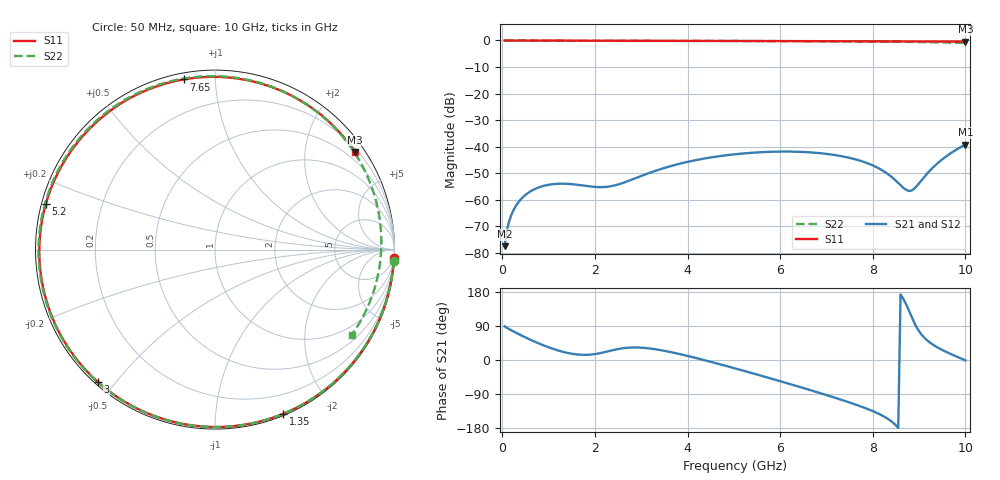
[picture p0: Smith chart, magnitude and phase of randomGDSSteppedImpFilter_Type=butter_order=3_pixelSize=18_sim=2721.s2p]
! freq	dB(S11)	phase(S11)	dB(S12)	phase(S12)
!  dB(S21)	phase(S21)	dB(S22)	phase(S22)
!S-par simulation data
#  GHz  S  DB  R 50
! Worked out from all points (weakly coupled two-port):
!   200 points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, 50 MHz to 10 GHz, reference 50 ohm
!   highest |S21| = -39.19 dB at 10 GHz (marker M1); lowest = -77.5 dB at 50 MHz (marker M2)
!   lowest |S11| = -0.4 dB at 10 GHz (marker M3), VSWR 39.63, Z = 14 + j158 ohm
!   |S11| at or under -10 dB: nowhere
!   |S22| runs from -0.9 to 0.0 dB; largest |S21 - S12| = 0
!   S11 on the Smith chart (normalised r, x): 50 MHz: 1, -42; 1.35 GHz: 0.01, -1.50; 3 GHz: 0.01, -0.45; 5.2 GHz: 0.01, +0.13; 7.65 GHz: 0.03, +0.83; 10 GHz: 0.28, +3.16
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0.05  -0.01 -2.7  -77.47 89.0  -77.47 89.0  -0.00 -3.6
0.1  -0.02 -5.4  -71.43 84.8  -71.43 84.8  -0.01 -7.1
0.15  -0.03 -8.0  -67.94 81.3  -67.94 81.3  -0.02 -10.7
0.25  -0.03 -13.2  -63.62 74.8  -63.62 74.8  -0.03 -18.0
0.4  -0.04 -21.0  -59.84 65.5  -59.84 65.5  -0.04 -28.7
0.85  -0.05 -43.8  -54.97 40.6  -54.97 40.6  -0.07 -58.9
1.35  -0.08 -67.5  -53.95 20.3  -53.95 20.3  -0.10 -88.2
1.75  -0.10 -85.0  -54.64 13.6  -54.64 13.6  -0.11 -108.3
2.3  -0.12 -106.8  -55.03 23.4  -55.03 23.4  -0.12 -132.0
3  -0.13 -131.5  -51.04 32.5  -51.04 32.5  -0.13 -157.5
3.4  -0.14 -144.2  -48.56 26.5  -48.56 26.5  -0.14 -170.4
4.2  -0.17 -167.8  -45.00 4.7  -45.00 4.7  -0.16 165.7
5.05  -0.20 169.0  -42.81 -22.9  -42.81 -22.9  -0.20 141.6
5.2  -0.21 165.0  -42.56 -28.0  -42.56 -28.0  -0.20 137.4
6  -0.25 144.1  -41.85 -55.9  -41.85 -55.9  -0.25 114.4
6.7  -0.27 125.8  -42.21 -81.3  -42.21 -81.3  -0.29 93.3
7.65  -0.32 100.5  -44.90 -118.5  -44.90 -118.5  -0.37 62.2
8.35  -0.34 81.3  -50.62 -157.3  -50.62 -157.3  -0.47 36.9
8.7  -0.36 71.5  -56.04 152.0  -56.04 152.0  -0.53 23.3
8.85  -0.37 67.3  -56.40 110.6  -56.40 110.6  -0.56 17.4
9.4  -0.39 51.8  -46.23 33.0  -46.23 33.0  -0.71 -5.4
10  -0.44 34.9  -39.19 -0.9  -39.19 -0.9  -0.94 -32.0
